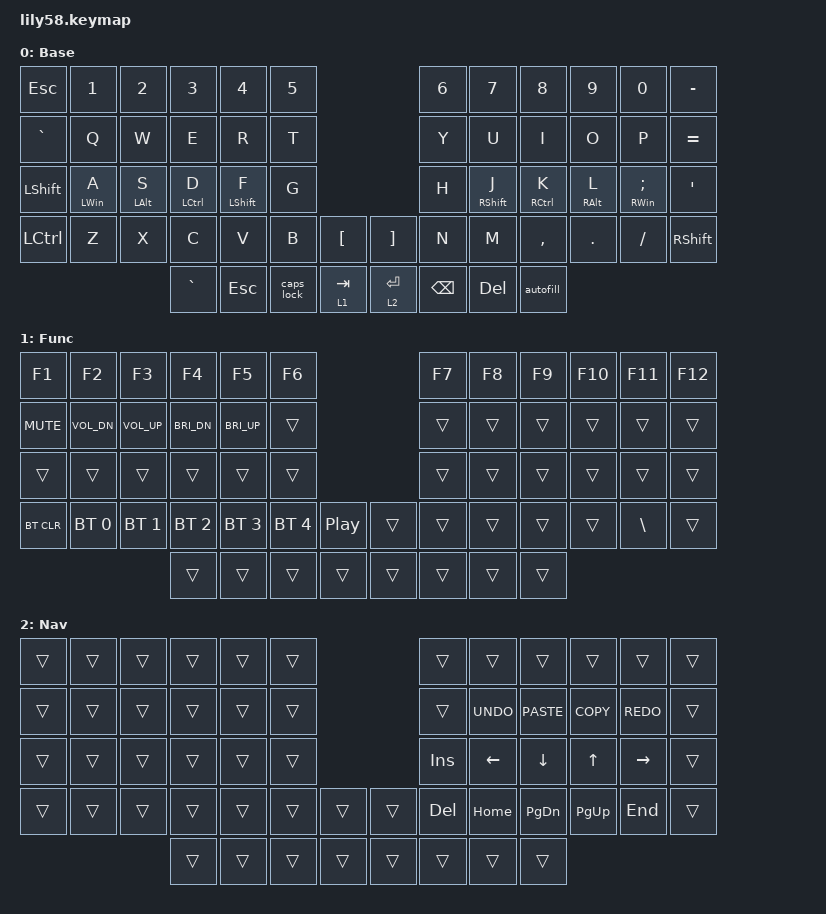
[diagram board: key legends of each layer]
#include <behaviors.dtsi>
#include <dt-bindings/zmk/bt.h>
#include <dt-bindings/zmk/keys.h>

&mt { tapping-term-ms = <125>; };

&lt { tapping-term-ms = <150>; };

/ {
    behaviors {
        caps_lock: caps_lock {
            compatible = "zmk,behavior-tap-dance";
            label = "CAPS_LOCK";
            #binding-cells = <0>;
            bindings = <&mt LEFT_SHIFT SPACE>, <&kp CAPSLOCK>;
        };

        autofill: autofill {
            compatible = "zmk,behavior-tap-dance";
            label = "AUTOFILL";
            #binding-cells = <0>;
            bindings = <&none>, <&none>;
        };

        hm: homerow_mods {
            compatible = "zmk,behavior-hold-tap";
            #binding-cells = <2>;
            tapping-term-ms = <175>;
            quick-tap-ms = <0>;
            flavor = "tap-preferred";
            bindings = <&kp>, <&kp>;
        };

        hms: homerow_mods_slow {
            compatible = "zmk,behavior-hold-tap";
            #binding-cells = <2>;
            tapping-term-ms = <225>;
            quick-tap-ms = <0>;
            flavor = "tap-preferred";
            bindings = <&kp>, <&kp>;
        };
    };

    keymap {
        compatible = "zmk,keymap";

        layer_base {
            display-name = "Base";
            bindings = <
&kp ESC    &kp N1          &kp N2          &kp N3       &kp N4            &kp N5                                &kp N6         &kp N7             &kp N8       &kp N9           &kp N0              &kp MINUS
&kp GRAVE  &kp Q           &kp W           &kp E        &kp R             &kp T                                 &kp Y          &kp U              &kp I        &kp O            &kp P               &kp EQUAL
&kp LSHFT  &hms LEFT_WIN A  &hms LEFT_ALT S  &hm LCTRL D  &hm LEFT_SHIFT F  &kp G                                 &kp H          &hm RIGHT_SHIFT J  &hm RCTRL K  &hms RIGHT_ALT L  &hms RIGHT_WIN SEMI  &kp SQT
&kp LCTRL  &kp Z           &kp X           &kp C        &kp V             &kp B       &kp LBKT     &kp RBKT     &kp N          &kp M              &kp COMMA    &kp DOT          &kp FSLH            &kp RSHFT
                                           &kp GRAVE    &kp ESCAPE        &caps_lock  &lt 1 TAB    &lt 2 ENTER  &kp BACKSPACE  &kp DELETE         &autofill
            >;
        };

        layer_fn {
            display-name = "Func";
            bindings = <
&kp F1      &kp F2        &kp F3        &kp F4        &kp F5        &kp F6                                    &kp F7  &kp F8  &kp F9  &kp F10  &kp F11        &kp F12
&kp K_MUTE  &kp C_VOL_DN  &kp C_VOL_UP  &kp C_BRI_DN  &kp C_BRI_UP  &trans                                    &trans  &trans  &trans  &trans   &trans         &trans
&trans      &trans        &trans        &trans        &trans        &trans                                    &trans  &trans  &trans  &trans   &trans         &trans
&bt BT_CLR  &bt BT_SEL 0  &bt BT_SEL 1  &bt BT_SEL 2  &bt BT_SEL 3  &bt BT_SEL 4  &kp C_PLAY_PAUSE    &trans  &trans  &trans  &trans  &trans   &kp BACKSLASH  &trans
                                        &trans        &trans        &trans        &trans              &trans  &trans  &trans  &trans
            >;
        };

        layer_nav {
            display-name = "Nav";
            bindings = <
&trans  &trans  &trans  &trans  &trans  &trans                    &trans      &trans      &trans       &trans      &trans      &trans
&trans  &trans  &trans  &trans  &trans  &trans                    &trans      &kp K_UNDO  &kp K_PASTE  &kp K_COPY  &kp K_REDO  &trans
&trans  &trans  &trans  &trans  &trans  &trans                    &kp INSERT  &kp LEFT    &kp DOWN     &kp UP      &kp RIGHT   &trans
&trans  &trans  &trans  &trans  &trans  &trans  &trans    &trans  &kp DEL     &kp HOME    &kp PG_DN    &kp PG_UP   &kp END     &trans
                        &trans  &trans  &trans  &trans    &trans  &trans      &trans      &trans
            >;
        };

        layer_01 { status = "reserved"; };
        layer_02 { status = "reserved"; };
    };
};
